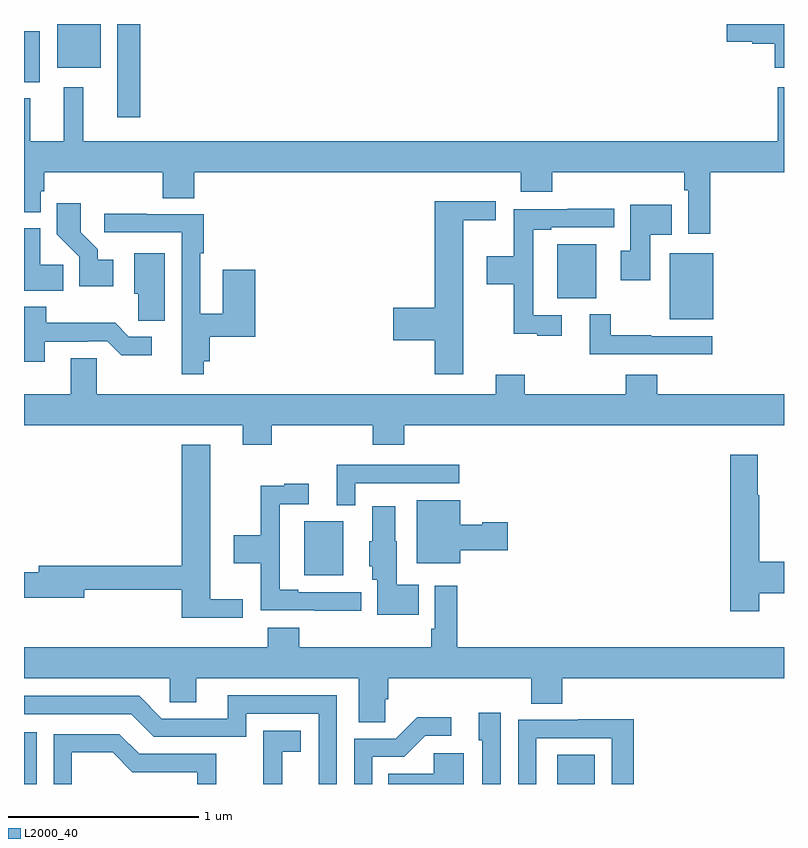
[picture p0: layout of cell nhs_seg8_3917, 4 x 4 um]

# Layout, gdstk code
import gdstk
lib = gdstk.Library(unit=1e-6, precision=1e-09)
def R(c, l, rs):  # rectangles x0, y0, x1, y1
    for r in rs: c.add(gdstk.rectangle(r[:2], r[2:], *l))
def P(c, l, *ps):  # polygons
    for p in ps: c.add(gdstk.Polygon(p, *l))
L2000_40 = (2000, 40)

nhs_seg8_3917 = lib.new_cell('nhs_seg8_3917')
R(nhs_seg8_3917, L2000_40, [(351,1159.9,351.066,1160.173), (353.807,1159.9,354.004,1160.053), (352.475,1160.999,352.681,1161.283), (354.398,1162.346,354.628,1162.693), (353.807,1162.457,354.013,1162.741), (351.491,1163.409,351.613,1163.9), (351,1163.594,351.082,1163.863), (351.176,1163.669,351.403,1163.9)])
P(nhs_seg8_3917, L2000_40, [(355,1163.9),(354.698,1163.9),(354.698,1163.807),(354.834,1163.807),(354.834,1163.795),(354.95,1163.795),(354.95,1163.669),(355,1163.669)],
  [(354.611,1163.12),(355,1163.12),(355,1163.566),(354.966,1163.566),(354.966,1163.284),(351.313,1163.284),(351.313,1163.566),(351.209,1163.566),(351.209,1163.284),(351.034,1163.284),(351.034,1163.509),(351,1163.509),(351,1162.91),(351.087,1162.91),(351.087,1163.019),(351.107,1163.019),(351.107,1163.12),(351.731,1163.12),(351.731,1162.984),(351.896,1162.984),(351.896,1163.12),(353.615,1163.12),(353.615,1163.018),(353.78,1163.018),(353.78,1163.12),(354.475,1163.12),(354.475,1163.024),(354.495,1163.024),(354.495,1162.797),(354.611,1162.797)],
  [(353.311,1162.868),(353.482,1162.868),(353.482,1162.966),(353.162,1162.966),(353.162,1162.406),(352.944,1162.406),(352.944,1162.235),(353.162,1162.235),(353.162,1162.056),(353.311,1162.056)],
  [(351.469,1162.66),(351.388,1162.66),(351.388,1162.715),(351.298,1162.805),(351.298,1162.957),(351.172,1162.957),(351.172,1162.794),(351.291,1162.675),(351.291,1162.52),(351.469,1162.52)],
  [(354.295,1162.79),(354.41,1162.79),(354.41,1162.948),(354.191,1162.948),(354.191,1162.707),(354.141,1162.707),(354.141,1162.551),(354.295,1162.551)],
  [(353.83,1162.368),(353.679,1162.368),(353.679,1162.818),(353.776,1162.818),(353.776,1162.83),(354.106,1162.83),(354.106,1162.928),(353.863,1162.928),(353.863,1162.926),(353.578,1162.926),(353.578,1162.678),(353.436,1162.678),(353.436,1162.531),(353.578,1162.531),(353.578,1162.271),(353.702,1162.271),(353.702,1162.26),(353.83,1162.26)],
  [(351.947,1162.124),(351.977,1162.124),(351.977,1162.253),(352.217,1162.253),(352.217,1162.606),(352.046,1162.606),(352.046,1162.376),(351.927,1162.376),(351.927,1162.693),(351.947,1162.693),(351.947,1162.899),(351.647,1162.899),(351.647,1162.902),(351.423,1162.902),(351.423,1162.803),(351.831,1162.803),(351.831,1162.056),(351.947,1162.056)],
  [(351.206,1162.634),(351.085,1162.634),(351.085,1162.825),(351,1162.825),(351,1162.496),(351.206,1162.496)],
  [(351.742,1162.693),(351.581,1162.693),(351.581,1162.479),(351.6,1162.479),(351.6,1162.339),(351.742,1162.339)],
  [(351.109,1162.227),(351.338,1162.227),(351.338,1162.23),(351.438,1162.23),(351.511,1162.157),(351.673,1162.157),(351.673,1162.254),(351.552,1162.254),(351.479,1162.327),(351.117,1162.327),(351.117,1162.411),(351,1162.411),(351,1162.122),(351.109,1162.122)],
  [(354.622,1162.257),(354.302,1162.257),(354.302,1162.262),(354.088,1162.262),(354.088,1162.372),(353.978,1162.372),(353.978,1162.161),(354.622,1162.161)],
  [(352.304,1161.788),(352.835,1161.788),(352.835,1161.686),(353,1161.686),(353,1161.788),(355,1161.788),(355,1161.952),(354.332,1161.952),(354.332,1162.054),(354.167,1162.054),(354.167,1161.952),(353.636,1161.952),(353.636,1162.054),(353.483,1162.054),(353.483,1161.952),(351.384,1161.952),(351.384,1162.142),(351.245,1162.142),(351.245,1161.952),(351,1161.952),(351,1161.788),(352.151,1161.788),(352.151,1161.686),(352.304,1161.686)],
  [(352.15,1160.873),(351.979,1160.873),(351.979,1161.685),(351.83,1161.685),(351.83,1161.05),(351.077,1161.05),(351.077,1161.014),(351,1161.014),(351,1160.879),(351.316,1160.879),(351.316,1160.922),(351.83,1160.922),(351.83,1160.774),(352.15,1160.774)],
  [(354.87,1160.903),(355,1160.903),(355,1161.069),(354.87,1161.069),(354.87,1161.421),(354.862,1161.421),(354.862,1161.634),(354.716,1161.634),(354.716,1160.808),(354.87,1160.808)],
  [(352.743,1161.483),(353.29,1161.483),(353.29,1161.579),(352.646,1161.579),(352.646,1161.368),(352.743,1161.368)],
  [(352.774,1160.91),(352.444,1160.91),(352.444,1160.923),(352.347,1160.923),(352.347,1161.372),(352.498,1161.372),(352.498,1161.481),(352.37,1161.481),(352.37,1161.47),(352.246,1161.47),(352.246,1161.21),(352.104,1161.21),(352.104,1161.062),(352.246,1161.062),(352.246,1160.814),(352.531,1160.814),(352.531,1160.813),(352.774,1160.813)],
  [(353.296,1161.131),(353.545,1161.131),(353.545,1161.278),(353.412,1161.278),(353.412,1161.265),(353.296,1161.265),(353.296,1161.394),(353.066,1161.394),(353.066,1161.062),(353.296,1161.062)],
  [(353.078,1160.95),(352.963,1160.95),(352.963,1161.177),(352.954,1161.177),(352.954,1161.361),(352.832,1161.361),(352.832,1161.177),(352.817,1161.177),(352.817,1161.045),(352.832,1161.045),(352.832,1160.976),(352.859,1160.976),(352.859,1160.792),(353.078,1160.792)],
  [(352.902,1160.347),(352.916,1160.347),(352.916,1160.456),(353.669,1160.456),(353.669,1160.323),(353.834,1160.323),(353.834,1160.456),(355,1160.456),(355,1160.62),(353.279,1160.62),(353.279,1160.944),(353.163,1160.944),(353.163,1160.716),(353.143,1160.716),(353.143,1160.62),(352.448,1160.62),(352.448,1160.722),(352.283,1160.722),(352.283,1160.62),(351,1160.62),(351,1160.456),(351.768,1160.456),(351.768,1160.329),(351.907,1160.329),(351.907,1160.456),(352.763,1160.456),(352.763,1160.224),(352.902,1160.224)],
  [(352.647,1160.367),(352.073,1160.367),(352.073,1160.244),(351.726,1160.244),(351.606,1160.364),(351,1160.364),(351,1160.268),(351.564,1160.268),(351.684,1160.148),(352.17,1160.148),(352.17,1160.271),(352.551,1160.271),(352.551,1159.9),(352.647,1159.9)],
  [(353.508,1160.275),(353.393,1160.275),(353.393,1160.13),(353.412,1160.13),(353.412,1159.9),(353.508,1159.9)],
  [(352.833,1160.043),(353.002,1160.043),(353.113,1160.154),(353.248,1160.154),(353.248,1160.252),(353.069,1160.252),(352.956,1160.139),(352.737,1160.139),(352.737,1159.9),(352.833,1159.9)],
  [(353.697,1160.142),(354.093,1160.142),(354.093,1159.9),(354.209,1159.9),(354.209,1160.24),(353.917,1160.24),(353.917,1160.238),(353.601,1160.238),(353.601,1159.9),(353.697,1159.9)],
  [(352.358,1160.069),(352.456,1160.069),(352.456,1160.179),(352.258,1160.179),(352.258,1159.973),(352.259,1159.973),(352.259,1159.9),(352.358,1159.9)],
  [(351.252,1160.066),(351.466,1160.066),(351.57,1159.962),(351.912,1159.962),(351.912,1159.9),(352.011,1159.9),(352.011,1160.058),(351.607,1160.058),(351.502,1160.163),(351.156,1160.163),(351.156,1159.9),(351.252,1159.9)],
  [(353.314,1160.062),(353.157,1160.062),(353.157,1159.954),(352.918,1159.954),(352.918,1159.9),(353.314,1159.9)])

lib.write_gds('nhs_seg8_3917.gds')
